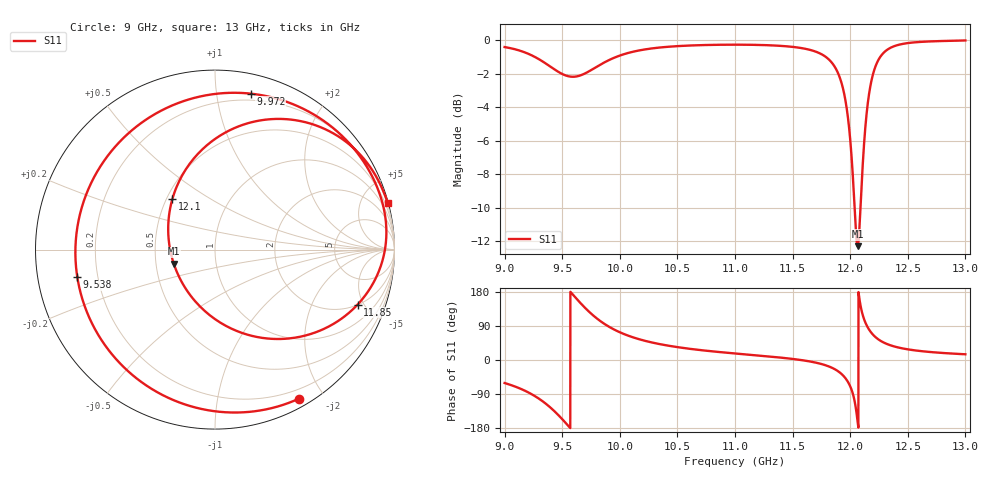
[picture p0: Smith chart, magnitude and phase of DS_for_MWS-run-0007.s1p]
! TOUCHSTONE file generated by CST DESIGN STUDIO
! Date and time: Tue Feb  4 17:29:49 2025
! Project name: C:\Work\MatlabApps\UnitCellOptimizationMatlab\CST\unitcell.cst
! Tree item: Tasks\Sweep1\SPara1\S-Parameters
! Header version: 2024
! Port assignment regex: !\s*Touchstone port\s*([0-9]+)\s*=\s*(CST MWS port|CST DES external port|CST DES block port)\s*(.+)\s* \(\"(.*)\"\)(\s*mode\s*([0-9]+))?.*
! Touchstone port assignment:
! Touchstone port 1 = CST DES external port 1 ("")
# GHz S MA R 50
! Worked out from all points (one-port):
!   4001 points, 9 GHz to 13 GHz, reference 50 ohm
!   lowest |S11| = -12.3 dB at 12.06 GHz (marker M1), VSWR 1.64, Z = 31 - j5.13 ohm
!   |S11| at or under -10 dB: 12.0383 GHz to 12.08937 GHz (51.07 MHz wide, 0.423 % of centre)
!   S11 on the Smith chart (normalised r, x): 9 GHz: 0.09, -1.70; 9.538 GHz: 0.12, -0.10; 9.972 GHz: 0.15, +1.24; 11.85 GHz: 2.02, -4.50; 12.1 GHz: 0.54, +0.35; 13 GHz: 0.09, +7.54
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9  0.9528 -60.7
9.146  0.9263 -76.8
9.296  0.8774 -101.7
9.399  0.8323 -125.8
9.5  0.792 -156.0
9.538  0.7823 -168.7
9.635  0.7801 158.0
9.753  0.8141 121.8
9.852  0.8523 98.2
9.972  0.8913 77.1
10  0.8987 73.2
10.216  0.9372 50.8
10.5  0.9589 34.0
11  0.9685 17.2
11.5  0.954 2.8
11.718  0.9184 -8.1
11.846  0.8513 -21.1
11.93  0.7336 -38.4
12  0.5054 -69.4
12.031  0.3519 -98.2
12.064  0.2427 -161.3
12.099  0.3682 130.2
12.145  0.6145 90.2
12.197  0.7884 67.1
12.25  0.8785 53.3
12.313  0.9308 43.0
12.5  0.9792 28.1
13  0.997 15.1
